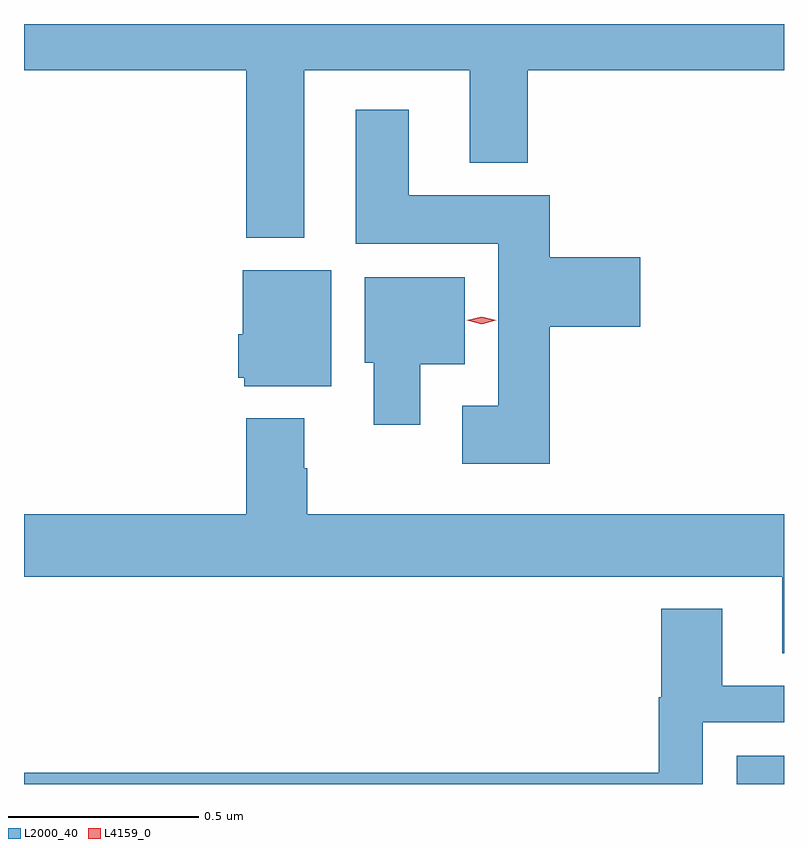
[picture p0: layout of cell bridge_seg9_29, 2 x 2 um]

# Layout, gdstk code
import gdstk
lib = gdstk.Library(unit=1e-6, precision=1e-09)
def R(c, l, rs):  # rectangles x0, y0, x1, y1
    for r in rs: c.add(gdstk.rectangle(r[:2], r[2:], *l))
def P(c, l, *ps):  # polygons
    for p in ps: c.add(gdstk.Polygon(p, *l))
L2000_40 = (2000, 40)
L4159_0 = (4159, 0)

bridge_seg9_29 = lib.new_cell('bridge_seg9_29')
R(bridge_seg9_29, L2000_40, [(1010.699,1226.51,1010.824,1226.584)])
P(bridge_seg9_29, L2000_40, [(1009.561,1228.388),(1009.997,1228.388),(1009.997,1228.145),(1010.15,1228.145),(1010.15,1228.388),(1010.824,1228.388),(1010.824,1228.51),(1008.824,1228.51),(1008.824,1228.388),(1009.409,1228.388),(1009.409,1227.947),(1009.561,1227.947)],
  [(1010.207,1227.713),(1010.446,1227.713),(1010.446,1227.896),(1010.207,1227.896),(1010.207,1228.06),(1009.837,1228.06),(1009.837,1228.285),(1009.697,1228.285),(1009.697,1227.932),(1010.072,1227.932),(1010.072,1227.505),(1009.977,1227.505),(1009.977,1227.353),(1010.207,1227.353)],
  [(1009.633,1227.862),(1009.4,1227.862),(1009.4,1227.693),(1009.388,1227.693),(1009.388,1227.579),(1009.404,1227.579),(1009.404,1227.557),(1009.633,1227.557)],
  [(1009.867,1227.614),(1009.984,1227.614),(1009.984,1227.844),(1009.721,1227.844),(1009.721,1227.618),(1009.745,1227.618),(1009.745,1227.456),(1009.867,1227.456)],
  [(1010.824,1227.22),(1009.569,1227.22),(1009.569,1227.341),(1009.561,1227.341),(1009.561,1227.472),(1009.409,1227.472),(1009.409,1227.22),(1008.824,1227.22),(1008.824,1227.056),(1010.819,1227.056),(1010.819,1226.854),(1010.824,1226.854)],
  [(1010.61,1226.673),(1010.824,1226.673),(1010.824,1226.769),(1010.662,1226.769),(1010.662,1226.971),(1010.501,1226.971),(1010.501,1226.738),(1010.494,1226.738),(1010.494,1226.54),(1008.824,1226.54),(1008.824,1226.51),(1010.61,1226.51)])
P(bridge_seg9_29, L4159_0, [(1010.028,1227.72),(1009.989,1227.73),(1009.989,1227.73),(1009.989,1227.73),(1010.028,1227.74),(1010.067,1227.73),(1010.067,1227.73),(1010.067,1227.73)])

lib.write_gds('bridge_seg9_29.gds')
